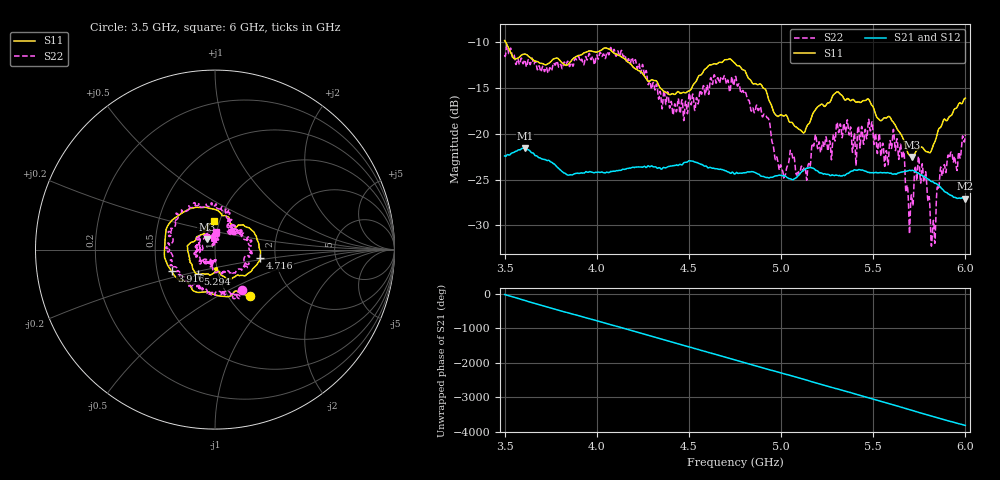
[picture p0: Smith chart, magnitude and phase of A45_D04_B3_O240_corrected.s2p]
! Created with skrf 1.9.0 (http://scikit-rf.org).
# Hz S RI R 50.0
!freq ReS11 ImS11 ReS21 ImS21 ReS12 ImS12 ReS22 ImS22
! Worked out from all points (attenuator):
!   1601 points, 3.5 GHz to 6 GHz, reference 50 ohm
!   highest |S21| = -21.56 dB at 3.611 GHz (marker M1); lowest = -27.1 dB at 5.998 GHz (marker M2)
!   lowest |S11| = -22.5 dB at 5.711 GHz (marker M3), VSWR 1.16, Z = 45.3 + j5.36 ohm
!   |S11| at or under -10 dB: 3.507 GHz to end of sweep
!   |S22| runs from -32.3 to -10.3 dB; largest |S21 - S12| = 0.001
!   S11 on the Smith chart (normalised r, x): 3.5 GHz: 1.26, -0.72; 3.916 GHz: 0.60, -0.15; 4.716 GHz: 1.66, -0.17; 5.294 GHz: 0.80, -0.22; 6 GHz: 0.94, +0.30
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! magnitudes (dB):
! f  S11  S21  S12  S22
! 3.5 GHz  -9.8  -22.4  -22.4  -11.4
! 3.611 GHz  -11.3  -21.6  -21.5  -12.0
! 3.916 GHz  -11.4  -24.3  -24.2  -12.0
! 3.917 GHz  -11.4  -24.3  -24.2  -11.8
! 4.141 GHz  -11.7  -23.9  -23.8  -11.4
! 4.334 GHz  -14.6  -23.7  -23.6  -16.1
! 4.716 GHz  -11.8  -24.2  -24.2  -14.6
! 4.75 GHz  -12.3  -24.4  -24.3  -13.9
! 4.925 GHz  -15.7  -24.8  -24.7  -18.2
! 5.014 GHz  -18.0  -24.6  -24.5  -24.8
! 5.167 GHz  -18.0  -23.7  -23.6  -21.2
! 5.294 GHz  -15.5  -24.5  -24.5  -20.7
! 5.584 GHz  -18.1  -24.3  -24.2  -22.3
! 5.656 GHz  -20.3  -24.1  -24.1  -22.7
! 5.689 GHz  -22.1  -24.0  -23.9  -26.5
! 5.711 GHz  -22.5  -24.0  -23.9  -27.1
! 5.736 GHz  -21.8  -24.2  -24.1  -25.1
! 5.775 GHz  -21.7  -24.7  -24.6  -25.2
! 5.825 GHz  -21.3  -25.2  -25.2  -29.6
! 5.873 GHz  -18.9  -26.0  -25.9  -24.6
! 5.998 GHz  -16.1  -27.1  -27.0  -20.4
! 6 GHz  -16.1  -27.0  -27.0  -20.1
